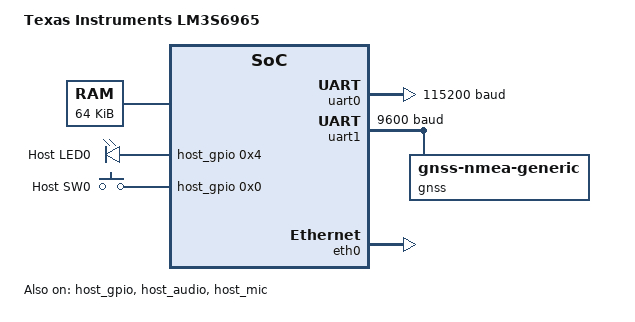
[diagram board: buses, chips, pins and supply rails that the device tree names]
/dts-v1/;

/ {
	#address-cells = <0x1>;
	#size-cells = <0x1>;
	model = "Texas Instruments LM3S6965";
	compatible = "ti,lm3s6965";

	chosen {
		zephyr,flash = &flash0;
		zephyr,sram = &sram0;
		zephyr,console = &uart0;
		zephyr,shell-uart = &uart0;
	};

	aliases {
		gnss = &gnss;
		dmic0 = &host_mic;
		led0 = &led0;
		sw0 = &button0;
	};

	cpus {
		#address-cells = <0x1>;
		#size-cells = <0x0>;

		cpu@0 {
			device_type = "cpu";
			compatible = "arm,cortex-m3";
			reg = <0x0>;
		};
	};

	sram0: memory@20000000 {
		compatible = "mmio-sram";
		reg = < 0x20000000 0x10000 >;
	};

	soc {
		#address-cells = <0x1>;
		#size-cells = <0x1>;
		compatible = "simple-bus";
		ranges;

		flash0: flash@0 {
			compatible = "soc-nv-flash";
			reg = < 0x0 0x40000 >;
		};

		uart0: uart@4000c000 {
			compatible = "ti,stellaris-uart";
			reg = < 0x4000c000 0x4c >;
			interrupts = < 0x5 0x0 >;
			status = "okay";
			current-speed = <0x1c200>;
		};

		uart1: uart@4000d000 {
			compatible = "ti,stellaris-uart";
			reg = < 0x4000d000 0x4c >;
			interrupts = < 0x6 0x0 >;
			status = "okay";
			current-speed = <0x2580>;

			gnss: gnss-nmea-generic {
				compatible = "gnss-nmea-generic";
			};
		};

		eth0: ethernet@40048000 {
			compatible = "ti,stellaris-ethernet";
			reg = < 0x40048000 0x1000 >;
			interrupts = < 0x2a 0x0 >;
			local-mac-address = [ 00 04 9f 05 f2 71 ];
			status = "okay";
		};

		host_gpio: gpio@40061000 {
			compatible = "qemu,host-gpio";
			reg = < 0x40061000 0x1000 >;
			gpio-controller;
			#gpio-cells = <0x2>;
			ngpios = <0x8>;
			status = "okay";
		};

		host_audio: audio@40062000 {
			compatible = "qemu,host-audio";
			reg = < 0x40062000 0x1000 >;
			status = "okay";
		};

		host_mic: audio@40063000 {
			compatible = "qemu,host-mic";
			reg = < 0x40063000 0x1000 >;
			status = "okay";
		};
	};

	leds {
		compatible = "gpio-leds";

		led0: led_0 {
			gpios = < &host_gpio 0x4 0x0 >;
			label = "Host LED0";
		};
	};

	keys {
		compatible = "gpio-keys";
		polling-mode;
		debounce-interval-ms = <0x1e>;

		button0: button_0 {
			gpios = < &host_gpio 0x0 0x0 >;
			zephyr,code = <0xb>;
			label = "Host SW0";
		};
	};
};
